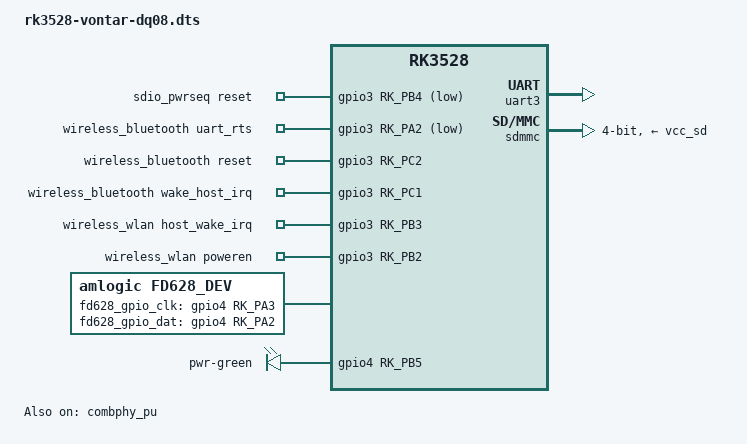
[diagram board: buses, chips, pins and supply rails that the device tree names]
// SPDX-License-Identifier: (GPL-2.0+ OR MIT)

#define VONTAR_DQ08 1
#define NO_ETH_LED 1
#ifndef SPI_PINS_NONE
#define SPI_PINS_NONE 1
#endif
#ifndef I2S_PINS_MERGE
#define I2S_PINS_MERGE 1
#endif
#ifndef HDMI_IDLE
#define HDMI_IDLE 1
#endif

#include "rk3528-demo1-lp4-v10.dtsi"
#include "rk3528-android.dtsi"

#include "rk3528-hacks.dtsi"

&route_hdmi {
	logo,mode = "fullscreen";
	charge_logo,mode = "fullscreen";
};

&route_tve {
	logo,mode = "fullscreen";
	charge_logo,mode = "fullscreen";
};

&uart3 {
	status = "okay";
	pinctrl-names = "default";
	dma-names = "!tx", "!rx";
	pinctrl-0 = <&uart3m1_xfer>;
};

&pinctrl {
	sdio-pwrseq {
		/delete-node/ wifi-enable-h;
	};
	wireless-wlan {
		/delete-node/ wifi-reset;
	};

	sdio-pwrseq {
		wifi_reset: wifi-reset {
			rockchip,pins = <3 RK_PB4 RK_FUNC_GPIO &pcfg_output_high>;
		};
	};
	wireless-wlan {
		wifi_enable_h: wifi-enable-h {
			rockchip,pins = <3 RK_PB2 RK_FUNC_GPIO &pcfg_output_high>;
		};
	};
};

/ {

	sdio_pwrseq: sdio-pwrseq {
		compatible = "mmc-pwrseq-simple";
		pinctrl-names = "default";
		pinctrl-0 = <&wifi_reset &clkm0_32k_out>;
		reset-gpios = <&gpio3 RK_PB4 GPIO_ACTIVE_LOW>;
	};

	wireless_bluetooth: wireless-bluetooth {
		compatible = "bluetooth-platdata";
		uart_rts_gpios = <&gpio3 RK_PA2 GPIO_ACTIVE_LOW>;
		pinctrl-names = "default\0rts_gpio";
		pinctrl-0 = <&uart2m0_rtsn>;
		pinctrl-1 = <&uart2m0_gpios>;
		BT,reset_gpio = <&gpio3 RK_PC2 GPIO_ACTIVE_HIGH>;
		BT,wake_host_irq = <&gpio3 RK_PC1 GPIO_ACTIVE_HIGH>;
		status = "okay";
	};

	wireless_wlan: wireless-wlan {
		compatible = "wlan-platdata";
		rockchip,grf = <&grf>;
		wifi_chip_type = "rtl8822cs";
		pinctrl-names = "default";
		pinctrl-0 = <&wifi_host_wake_irq &wifi_enable_h>;
		WIFI,host_wake_irq = <&gpio3 RK_PB3 GPIO_ACTIVE_HIGH>;
		WIFI,poweren_gpio = <&gpio3 RK_PB2 GPIO_ACTIVE_HIGH>;
		status = "okay";
	};

	fd628_dev: fd628-dev {
		compatible = "amlogic, fd628_dev";
		fd628_gpio_clk = <&gpio4 RK_PA3 GPIO_ACTIVE_HIGH>;
		fd628_gpio_dat = <&gpio4 RK_PA2 GPIO_ACTIVE_HIGH>;
		status = "okay";
	};

	amlogic_battery: dummy-battery {
		compatible = "amlogic, dummy-battery";
		status = "okay";
	};

	amlogic_charger: dummy-charger {
		compatible = "amlogic, dummy-charger";
		status = "okay";
	};

};

&sdmmc {
	bus-width = <4>;
	cap-mmc-highspeed;
	cap-sd-highspeed;
	disable-wp;
	pinctrl-names = "default";
	pinctrl-0 = <&sdmmc_clk &sdmmc_cmd &sdmmc_det &sdmmc_bus4>;
	supports-sd;
	num-slots = <1>;
	card-detect-delay = <500>;
	vmmc-supply = <&vcc_sd>;
};

&spdif_8ch {
	status = "disabled";
};

&combphy_pu {
	status = "okay";
};

&leds {
	/delete-node/ ir;
	/delete-node/ net-red;
	/delete-node/ net-green;
	pwr-green {
		gpios = <&gpio4 RK_PB5 GPIO_ACTIVE_HIGH>;
	};
};

/ {
	spdif-sound {
		status = "disabled";
	};
	spdif-out {
		status = "disabled";
	};
};

&pwm3 {
	ir_key2 {
		rockchip,usercode = <0x7f80>;
		rockchip,key_table =
			<0xec KEY_REPLY>,
			<0xd8 KEY_BACK>,
			<0xc7 KEY_UP>,
			<0xbf KEY_DOWN>,
			<0xc8 KEY_LEFT>,
			<0xc6 KEY_RIGHT>,
			<0x8c KEY_HOME>,
			<0x78 KEY_VOLUMEUP>,
			<0x76 KEY_VOLUMEDOWN>,
			<0x7e KEY_POWER>,
			<0x7c KEY_MENU>,
			<0xb7 KEY_TEXT>;
	};

	ir_key6 {
		rockchip,usercode = <0xfe01>;
		rockchip,key_table =
			<0xec KEY_REPLY>,
			<0xe6 KEY_BACK>,
			<0xe9 KEY_UP>,
			<0xe5 KEY_DOWN>,
			<0xae KEY_LEFT>,
			<0xaf KEY_RIGHT>,
			<0xee KEY_HOME>,
			<0xe7 KEY_VOLUMEUP>,
			<0xef KEY_VOLUMEDOWN>,
			<0xbf KEY_POWER>,
			<0xbe KEY_MUTE>,
			<0xb3 KEY_MENU>,
			<0xff KEY_TEXT>,
			<0xb1 KEY_1>,
			<0xf2 KEY_2>,
			<0xf3 KEY_3>,
			<0xb5 KEY_4>,
			<0xf6 KEY_5>,
			<0xf7 KEY_6>,
			<0xb9 KEY_7>,
			<0xfa KEY_8>,
			<0xfb KEY_9>,
			<0xfe KEY_0>,
			<0xbd KEY_BACKSPACE>,
			<0xbc KEY_SETUP>,
			<0xf0 KEY_F13>,
			<0xb4 KEY_PREVIOUS>,
			<0xb0 KEY_NEXT>,
			<0x6d KEY_KATAKANA>,
			<0x6c KEY_HIRAGANA>,
			<0x33 KEY_HENKAN>,
			<0x71 KEY_KATAKANAHIRAGANA>,
			<0x70 KEY_MUHENKAN>,
			<0x37 KEY_KPJPCOMMA>;
	};

	ir_key9 {
		rockchip,usercode = <0x7788>;
		rockchip,key_table =
			<0xe6 KEY_REPLY>,
			<0xb7 KEY_BACK>,
			<0xea KEY_UP>,
			<0xe9 KEY_DOWN>,
			<0xe8 KEY_LEFT>,
			<0xe7 KEY_RIGHT>,
			<0xb8 KEY_HOME>,
			<0xdc KEY_VOLUMEUP>,
			<0xdb KEY_VOLUMEDOWN>,
			<0xde KEY_POWER>,
			<0xda KEY_MUTE>,
			<0x9f KEY_MENU>,
			<0xcd KEY_TEXT>,
			<0xf0 KEY_SETUP>,
			<0x8b KEY_F13>,
			<0xcc KEY_PREVIOUS>,
			<0xcb KEY_NEXT>,
			<0x9b KEY_F6>,
			<0x9c KEY_F8>,
			<0x98 KEY_F4>,
			<0x97 KEY_F5>;
	};
};

